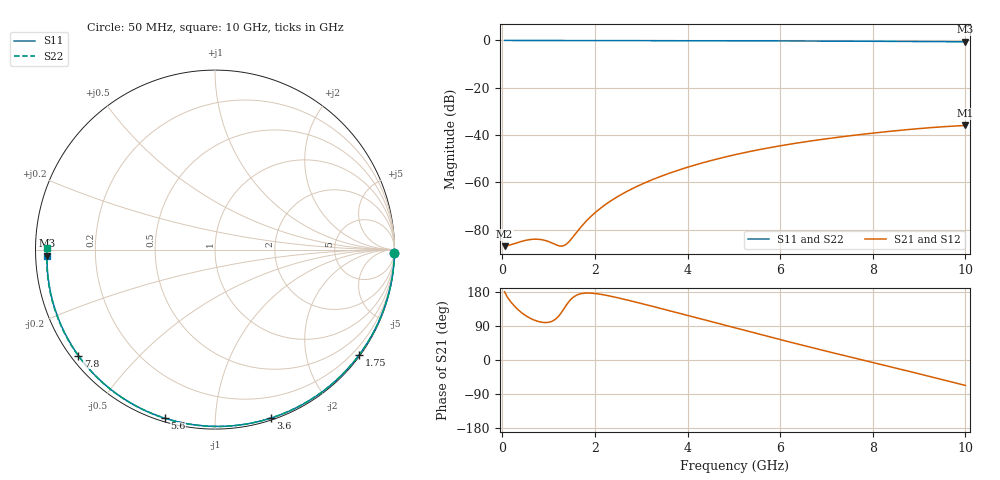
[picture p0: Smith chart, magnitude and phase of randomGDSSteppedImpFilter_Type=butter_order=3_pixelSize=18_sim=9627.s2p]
! freq	dB(S11)	phase(S11)	dB(S12)	phase(S12)
!  dB(S21)	phase(S21)	dB(S22)	phase(S22)
!S-par simulation data
#  GHz  S  DB  R 50
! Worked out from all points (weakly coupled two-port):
!   200 points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, 50 MHz to 10 GHz, reference 50 ohm
!   highest |S21| = -35.97 dB at 10 GHz (marker M1); lowest = -87.0 dB at 50 MHz (marker M2)
!   lowest |S11| = -0.6 dB at 10 GHz (marker M3), VSWR 30.55, Z = 1.64 - j0.915 ohm
!   |S11| at or under -10 dB: nowhere
!   |S22| runs from -0.6 to 0.0 dB; largest |S21 - S12| = 0
!   S11 on the Smith chart (normalised r, x): 50 MHz: open; 1.75 GHz: 0.03, -3.08; 3.6 GHz: 0.02, -1.39; 5.6 GHz: 0.02, -0.75; 7.8 GHz: 0.02, -0.34; 10 GHz: 0.03, -0.02
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0.05  -0.00 -1.1  -87.02 180.0  -87.02 180.0  -0.00 -1.1
0.4  -0.01 -8.4  -85.09 126.5  -85.09 126.5  -0.00 -8.5
0.8  -0.02 -16.7  -84.15 101.0  -84.15 101.0  -0.02 -17.0
1.2  -0.03 -24.9  -86.73 113.4  -86.73 113.4  -0.03 -25.4
1.65  -0.04 -34.0  -80.04 173.3  -80.04 173.3  -0.04 -34.7
1.75  -0.05 -36.0  -77.74 176.1  -77.74 176.1  -0.05 -36.7
1.9  -0.05 -39.0  -74.70 176.6  -74.70 176.6  -0.05 -39.8
2.05  -0.05 -42.0  -72.09 174.8  -72.09 174.8  -0.06 -42.8
2.4  -0.06 -48.8  -67.15 166.8  -67.15 166.8  -0.06 -49.8
2.85  -0.07 -57.5  -62.28 153.7  -62.28 153.7  -0.08 -58.6
3.4  -0.09 -67.9  -57.66 136.7  -57.66 136.7  -0.09 -69.2
3.6  -0.10 -71.6  -56.22 130.4  -56.22 130.4  -0.10 -72.9
4.3  -0.12 -84.2  -51.90 108.1  -51.90 108.1  -0.12 -85.8
5.05  -0.15 -97.3  -48.22 84.0  -48.22 84.0  -0.15 -99.0
5.6  -0.17 -106.6  -45.98 66.5  -45.98 66.5  -0.18 -108.4
6.15  -0.21 -115.7  -44.07 49.2  -44.07 49.2  -0.21 -117.7
6.7  -0.24 -124.6  -42.41 32.3  -42.41 32.3  -0.24 -126.7
7.25  -0.28 -133.4  -40.95 15.7  -40.95 15.7  -0.28 -135.7
7.8  -0.33 -142.2  -39.64 -0.6  -39.64 -0.6  -0.33 -144.6
8.35  -0.38 -151.0  -38.47 -16.9  -38.47 -16.9  -0.38 -153.5
9.2  -0.47 -164.6  -36.96 -42.5  -36.96 -42.5  -0.47 -167.3
10  -0.57 -177.9  -35.97 -67.2  -35.97 -67.2  -0.58 179.5
